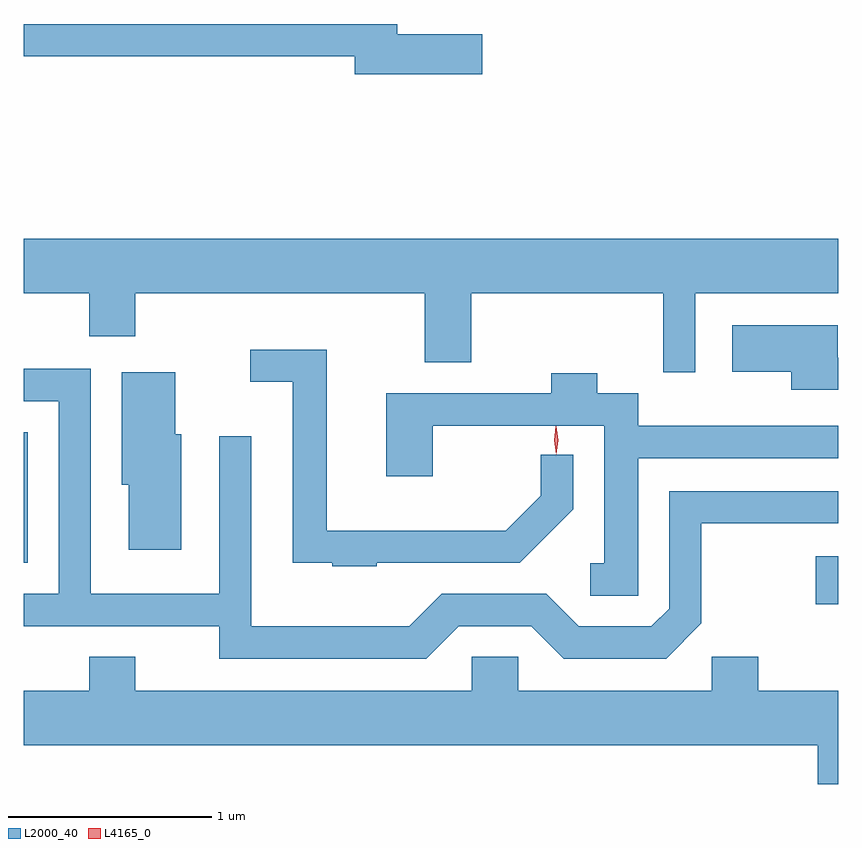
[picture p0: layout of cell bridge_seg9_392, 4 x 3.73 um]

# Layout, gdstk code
import gdstk
lib = gdstk.Library(unit=1e-6, precision=1e-09)
def R(c, l, rs):  # rectangles x0, y0, x1, y1
    for r in rs: c.add(gdstk.rectangle(r[:2], r[2:], *l))
def P(c, l, *ps):  # polygons
    for p in ps: c.add(gdstk.Polygon(p, *l))
L2000_40 = (2000, 40)
L4165_0 = (4165, 0)

bridge_seg9_392 = lib.new_cell('bridge_seg9_392')
R(bridge_seg9_392, L2000_40, [(506.871,2025.808,506.981,2026.044), (502.981,2026.011,502.999,2026.654)])
P(bridge_seg9_392, L2000_40, [(505.234,2028.609),(504.814,2028.609),(504.814,2028.659),(502.981,2028.659),(502.981,2028.501),(504.606,2028.501),(504.606,2028.411),(505.234,2028.411)],
  [(506.279,2027.336),(506.981,2027.336),(506.981,2027.604),(502.981,2027.604),(502.981,2027.336),(503.301,2027.336),(503.301,2027.126),(503.529,2027.126),(503.529,2027.336),(504.951,2027.336),(504.951,2026.996),(505.179,2026.996),(505.179,2027.336),(506.121,2027.336),(506.121,2026.948),(506.279,2026.948)],
  [(506.981,2027.019),(506.979,2027.019),(506.979,2027.179),(506.461,2027.179),(506.461,2026.951),(506.751,2026.951),(506.751,2026.861),(506.981,2026.861)],
  [(504.715,2026.011),(505.417,2026.011),(505.679,2026.274),(505.679,2026.543),(505.521,2026.543),(505.521,2026.342),(505.349,2026.169),(504.469,2026.169),(504.469,2027.059),(504.093,2027.059),(504.093,2026.901),(504.301,2026.901),(504.301,2026.011),(504.495,2026.011),(504.495,2025.996),(504.715,2025.996)],
  [(505.117,2025.701),(505.474,2025.701),(505.634,2025.541),(506.137,2025.541),(506.309,2025.714),(506.309,2026.206),(506.981,2026.206),(506.981,2026.364),(506.151,2026.364),(506.151,2025.787),(506.064,2025.699),(505.707,2025.699),(505.547,2025.859),(505.034,2025.859),(504.874,2025.699),(504.099,2025.699),(504.099,2026.633),(503.941,2026.633),(503.941,2025.859),(503.309,2025.859),(503.309,2026.964),(502.981,2026.964),(502.981,2026.806),(503.151,2026.806),(503.151,2025.859),(502.981,2025.859),(502.981,2025.701),(503.941,2025.701),(503.941,2025.541),(504.957,2025.541)],
  [(503.754,2026.644),(503.724,2026.644),(503.724,2026.949),(503.461,2026.949),(503.461,2026.396),(503.496,2026.396),(503.496,2026.076),(503.754,2026.076)],
  [(505.999,2026.526),(506.981,2026.526),(506.981,2026.684),(505.999,2026.684),(505.999,2026.844),(505.799,2026.844),(505.799,2026.944),(505.571,2026.944),(505.571,2026.844),(504.761,2026.844),(504.761,2026.436),(504.989,2026.436),(504.989,2026.686),(505.831,2026.686),(505.831,2026.009),(505.763,2026.009),(505.763,2025.851),(505.999,2025.851)],
  [(506.981,2025.384),(506.589,2025.384),(506.589,2025.549),(506.361,2025.549),(506.361,2025.384),(505.409,2025.384),(505.409,2025.549),(505.181,2025.549),(505.181,2025.384),(503.529,2025.384),(503.529,2025.549),(503.301,2025.549),(503.301,2025.384),(502.981,2025.384),(502.981,2025.116),(506.881,2025.116),(506.881,2024.925),(506.981,2024.925)])
P(bridge_seg9_392, L4165_0, [(505.596,2026.543),(505.596,2026.544),(505.586,2026.613),(505.595,2026.682),(505.595,2026.682),(505.596,2026.682),(505.606,2026.613),(505.597,2026.544)])

lib.write_gds('bridge_seg9_392.gds')
